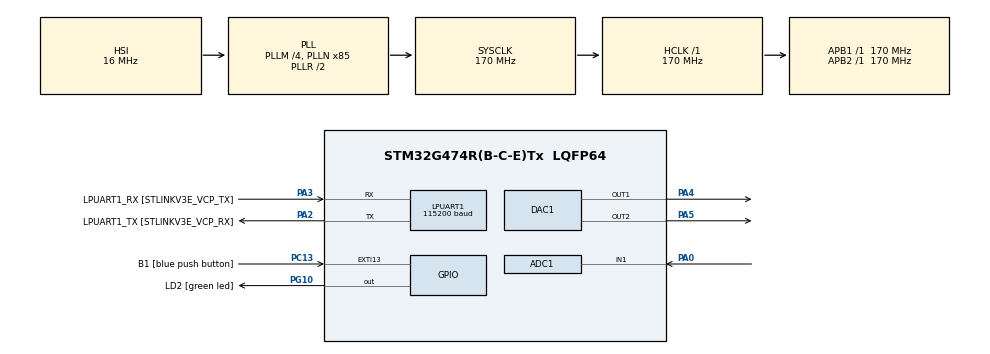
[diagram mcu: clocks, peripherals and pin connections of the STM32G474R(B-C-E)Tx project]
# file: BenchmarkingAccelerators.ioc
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ADC1.Channel-0\#ChannelRegularConversion=ADC_CHANNEL_1
ADC1.ExternalTrigConv=ADC_EXTERNALTRIG_T6_TRGO
ADC1.NbrOfConversion=1
ADC1.NbrOfConversionFlag=1
ADC1.OffsetNumber-0\#ChannelRegularConversion=ADC_OFFSET_NONE
ADC1.Rank-0\#ChannelRegularConversion=1
ADC1.SamplingTime-0\#ChannelRegularConversion=ADC_SAMPLETIME_2CYCLES_5
ADC1.master=1
DAC1.DAC_Channel-DAC_OUT2=DAC_CHANNEL_2
Dma.DAC1_CH1.0.Direction=DMA_MEMORY_TO_PERIPH
Dma.DAC1_CH1.0.EventEnable=DISABLE
Dma.DAC1_CH1.0.Instance=DMA1_Channel1
Dma.DAC1_CH1.0.MemDataAlignment=DMA_MDATAALIGN_HALFWORD
Dma.DAC1_CH1.0.MemInc=DMA_MINC_ENABLE
Dma.DAC1_CH1.0.Mode=DMA_CIRCULAR
Dma.DAC1_CH1.0.PeriphDataAlignment=DMA_PDATAALIGN_HALFWORD
Dma.DAC1_CH1.0.PeriphInc=DMA_PINC_DISABLE
Dma.DAC1_CH1.0.Polarity=HAL_DMAMUX_REQ_GEN_RISING
Dma.DAC1_CH1.0.Priority=DMA_PRIORITY_LOW
Dma.DAC1_CH1.0.RequestNumber=1
Dma.DAC1_CH1.0.SignalID=NONE
Dma.DAC1_CH1.0.SyncEnable=DISABLE
Dma.DAC1_CH1.0.SyncPolarity=HAL_DMAMUX_SYNC_NO_EVENT
Dma.DAC1_CH1.0.SyncRequestNumber=1
Dma.DAC1_CH1.0.SyncSignalID=NONE
Dma.FMAC_READ.1.Direction=DMA_PERIPH_TO_MEMORY
Dma.FMAC_READ.1.EventEnable=DISABLE
Dma.FMAC_READ.1.Instance=DMA1_Channel2
Dma.FMAC_READ.1.MemDataAlignment=DMA_MDATAALIGN_WORD
Dma.FMAC_READ.1.MemInc=DMA_MINC_ENABLE
Dma.FMAC_READ.1.Mode=DMA_NORMAL
Dma.FMAC_READ.1.PeriphDataAlignment=DMA_PDATAALIGN_WORD
Dma.FMAC_READ.1.PeriphInc=DMA_PINC_DISABLE
Dma.FMAC_READ.1.Polarity=HAL_DMAMUX_REQ_GEN_RISING
Dma.FMAC_READ.1.Priority=DMA_PRIORITY_LOW
Dma.FMAC_READ.1.RequestNumber=1
Dma.FMAC_READ.1.SignalID=NONE
Dma.FMAC_READ.1.SyncEnable=DISABLE
Dma.FMAC_READ.1.SyncPolarity=HAL_DMAMUX_SYNC_NO_EVENT
Dma.FMAC_READ.1.SyncRequestNumber=1
Dma.FMAC_READ.1.SyncSignalID=NONE
Dma.FMAC_WRITE.2.Direction=DMA_MEMORY_TO_PERIPH
Dma.FMAC_WRITE.2.EventEnable=DISABLE
Dma.FMAC_WRITE.2.Instance=DMA1_Channel3
Dma.FMAC_WRITE.2.MemDataAlignment=DMA_MDATAALIGN_HALFWORD
Dma.FMAC_WRITE.2.MemInc=DMA_MINC_ENABLE
Dma.FMAC_WRITE.2.Mode=DMA_CIRCULAR
Dma.FMAC_WRITE.2.PeriphDataAlignment=DMA_PDATAALIGN_WORD
Dma.FMAC_WRITE.2.PeriphInc=DMA_PINC_DISABLE
Dma.FMAC_WRITE.2.Polarity=HAL_DMAMUX_REQ_GEN_RISING
Dma.FMAC_WRITE.2.Priority=DMA_PRIORITY_LOW
Dma.FMAC_WRITE.2.RequestNumber=1
Dma.FMAC_WRITE.2.SignalID=NONE
Dma.FMAC_WRITE.2.SyncEnable=DISABLE
Dma.FMAC_WRITE.2.SyncPolarity=HAL_DMAMUX_SYNC_NO_EVENT
Dma.FMAC_WRITE.2.SyncRequestNumber=1
Dma.FMAC_WRITE.2.SyncSignalID=NONE
Dma.Request0=DAC1_CH1
Dma.Request1=FMAC_READ
Dma.Request2=FMAC_WRITE
LPUART1.BaudRate=115200
Mcu.Family=STM32G4
Mcu.Name=STM32G474R(B-C-E)Tx
Mcu.Package=LQFP64
NVIC.ADC1_2_IRQn=true\:0\:0\:false\:false\:true\:true\:true\:true
NVIC.DMA1_Channel1_IRQn=true\:0\:0\:false\:false\:true\:false\:true\:true
NVIC.DMA1_Channel2_IRQn=true\:0\:0\:false\:false\:true\:false\:true\:true
NVIC.DMA1_Channel3_IRQn=true\:0\:0\:false\:false\:true\:false\:true\:true
NVIC.EXTI15_10_IRQn=true\:0\:0\:false\:false\:true\:true\:true\:true
NVIC.FMAC_IRQn=true\:0\:0\:false\:false\:true\:true\:true\:true
NVIC.PriorityGroup=NVIC_PRIORITYGROUP_4
NVIC.TIM6_DAC_IRQn=true\:0\:0\:false\:false\:true\:true\:true\:true
PA0.Mode=IN1-Single-Ended
PA0.Signal=ADC1_IN1
PA13.GPIO_Label=T_SWDIO
PA13.Mode=Serial_Wire
PA13.Signal=SYS_JTMS-SWDIO
PA14.GPIO_Label=T_SWCLK
PA14.Mode=Serial_Wire
PA14.Signal=SYS_JTCK-SWCLK
PA2.GPIO_Label=LPUART1_TX [STLINKV3E_VCP_RX]
PA2.Mode=Asynchronous
PA2.Signal=LPUART1_TX
PA3.GPIO_Label=LPUART1_RX [STLINKV3E_VCP_TX]
PA3.Mode=Asynchronous
PA3.Signal=LPUART1_RX
PA4.Signal=COMP_DAC11_group
PA5.Signal=COMP_DAC12_group
PB3.GPIO_Label=T_SWO
PB3.Signal=SYS_JTDO-SWO
PC13.GPIO_Label=B1 [blue push button]
PC13.Signal=GPXTI13
PC14-OSC32_IN.Signal=RCC_OSC32_IN
PC15-OSC32_OUT.Signal=RCC_OSC32_OUT
PF0-OSC_IN.Signal=RCC_OSC_IN
PF1-OSC_OUT.Signal=RCC_OSC_OUT
PG10-NRST.GPIO_Label=LD2 [green led]
PG10-NRST.Signal=GPIO_Output
ProjectManager.HeapSize=0x200
ProjectManager.StackSize=0x400
ProjectManager.TargetToolchain=STM32CubeIDE
RCC.ADC12Freq_Value=170000000
RCC.ADC345Freq_Value=170000000
RCC.AHBFreq_Value=170000000
RCC.APB1Freq_Value=170000000
RCC.APB1TimFreq_Value=170000000
RCC.APB2Freq_Value=170000000
RCC.APB2TimFreq_Value=170000000
RCC.CortexFreq_Value=170000000
RCC.EXTERNAL_CLOCK_VALUE=12288000
RCC.HCLKFreq_Value=170000000
RCC.HSE_VALUE=24000000
RCC.HSI48_VALUE=48000000
RCC.HSI_VALUE=16000000
RCC.LSE_VALUE=32768
RCC.PLLM=RCC_PLLM_DIV4
RCC.PLLN=85
RCC.RTCClockSelection=RCC_RTCCLKSOURCE_LSE
RCC.SYSCLKFreq_VALUE=170000000
RCC.SYSCLKSource=RCC_SYSCLKSOURCE_PLLCLK
RCC.USBFreq_Value=170000000
RCC.VCOOutputFreq_Value=340000000
SH.COMP_DAC11_group.0=DAC1_OUT1,DAC_OUT1
SH.COMP_DAC12_group.0=DAC1_OUT2,DAC_OUT2
TIM6.PeriodNoDither=20
TIM6.Prescaler=169
TIM6.TIM_MasterOutputTrigger=TIM_TRGO_UPDATE
VP_FMAC_VS_FMAC.Mode=FMAC_Activate
VP_SYS_VS_DBSignals.Mode=DisableDeadBatterySignals
VP_TIM6_VS_ClockSourceINT.Mode=Enable_Timer
board=NUCLEO-G474RE

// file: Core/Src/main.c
/* USER CODE BEGIN Header */
/**
 ******************************************************************************
 * @file           : main.c
 * @brief          : Main program body
 ******************************************************************************
 * @attention
 *
 * Copyright (c) 2025 STMicroelectronics.
 * All rights reserved.
 *
 * This software is licensed under terms that can be found in the LICENSE file
 * in the root directory of this software component.
 * If no LICENSE file comes with this software, it is provided AS-IS.
 *
 ******************************************************************************
 */
/* USER CODE END Header */
#include "main.h"

/* USER CODE BEGIN Includes */
//#include "fmac_cmsis_interface.h"
/* USER CODE END Includes */

ADC_HandleTypeDef hadc1;

DAC_HandleTypeDef hdac1;
DMA_HandleTypeDef hdma_dac1_ch1;

FMAC_HandleTypeDef hfmac;
DMA_HandleTypeDef hdma_fmac_read;
DMA_HandleTypeDef hdma_fmac_write;

UART_HandleTypeDef hlpuart1;

TIM_HandleTypeDef htim6;

void SystemClock_Config(void);
static void MX_GPIO_Init(void);
static void MX_DMA_Init(void);
static void MX_FMAC_Init(void);
static void MX_DAC1_Init(void);
static void MX_TIM6_Init(void);
static void MX_LPUART1_UART_Init(void);
static void MX_ADC1_Init(void);

/* USER CODE BEGIN PFP */
q15_t inputSample[1];
q15_t filteredSample[1];
arm_fir_instance_q15 A;
arm_biquad_casd_df1_inst_q15 armIIRInstanceQ15;
q15_t biquad_state[4] = { 0 };

uint16_t blockLen = BLOCK_SIZE;
q15_t firStateQ15[FIR_STATE_LEN];

volatile uint32_t fmac_cycles = 0;
int16_t buf[500];
/* USER CODE END PFP */

int main(void) {

	/* MCU Configuration--------------------------------------------------------*/

	/* Reset of all peripherals, Initializes the Flash interface and the Systick. */
	HAL_Init();

	/* USER CODE BEGIN Init */
	//  For CMSIS-IIR
	//	int16_t biquadCffs_q15[6] = { ema_b_coeffs[0], 0, 0, 0, ema_a_coeffs[0], 0 };
	//	arm_biquad_cascade_df1_init_q15(&armIIRInstanceQ15, 1, biquadCffs_q15, biquad_state, 0);

	//  For CMSIS-FIR
	//  arm_fir_init_q15(&A, NUM_TAPS, fir_coeffs, firStateQ15,1);

	//  DWT Cycle Counter - Init
	//	CoreDebug->DEMCR |= CoreDebug_DEMCR_TRCENA_Msk;
	//	DWT->CYCCNT = 0;
	//	DWT->CTRL |= DWT_CTRL_CYCCNTENA_Msk;

	/* USER CODE END Init */

	/* Configure the system clock */
	SystemClock_Config();

	/* Initialize all configured peripherals */
	MX_GPIO_Init();
	MX_DMA_Init();
	MX_FMAC_Init();
	MX_DAC1_Init();
	MX_TIM6_Init();
	MX_LPUART1_UART_Init();
	MX_ADC1_Init();
	/* USER CODE BEGIN 2 */
	/* declare a filter configuration structure */

	FMAC_FilterConfigTypeDef sFmacConfig;

	//  FMAC-FIR Filters
	//	fmac_config(&sFmacConfig, 64, 80, 1, 0, 61, 144, 80, 1, NULL, 0,
	//	fir_coeffs, 61, FMAC_BUFFER_ACCESS_POLLING,
	//	FMAC_BUFFER_ACCESS_POLLING, FMAC_CLIP_ENABLED, FMAC_FUNC_CONVO_FIR,
	//	61, 0, 0);

	//  FMAC-IIR Filters
	//	fmac_config(&sFmacConfig, 51, 100, 1, 0, 21, 151, 100, 1, ema_a_coeffs,
	//	EMA_NUM_A_COEFFS, ema_b_coeffs, EMA_NUM_B_COEFFS,
	//	FMAC_BUFFER_ACCESS_POLLING,
	//	FMAC_BUFFER_ACCESS_POLLING, FMAC_CLIP_ENABLED,
	//	FMAC_FUNC_IIR_DIRECT_FORM_1,
	//	EMA_NUM_B_COEFFS, EMA_NUM_A_COEFFS, 0);

	/* Configure the FMAC */
	fmac_StartWithTimerIRQ(&hfmac, &sFmacConfig, &htim6, &hdac1);
//	fmac_StartWithTimerIRQ_DMA(&hfmac, &sFmacConfig, &htim6, &hdac1); //For DMA Config.
	HAL_DAC_Start(&hdac1, DAC_CHANNEL_1);
	HAL_ADC_Start_IT(&hadc1);
	/* USER CODE END 2 */

	/* Infinite loop */
	while (1) {

	}
}

void SystemClock_Config(void) {
	RCC_OscInitTypeDef RCC_OscInitStruct = { 0 };
	RCC_ClkInitTypeDef RCC_ClkInitStruct = { 0 };

	/** Configure the main internal regulator output voltage
	 */
	HAL_PWREx_ControlVoltageScaling(PWR_REGULATOR_VOLTAGE_SCALE1_BOOST);

	/** Initializes the RCC Oscillators according to the specified parameters
	 * in the RCC_OscInitTypeDef structure.
	 */
	RCC_OscInitStruct.OscillatorType = RCC_OSCILLATORTYPE_HSI;
	RCC_OscInitStruct.HSIState = RCC_HSI_ON;
	RCC_OscInitStruct.HSICalibrationValue = RCC_HSICALIBRATION_DEFAULT;
	RCC_OscInitStruct.PLL.PLLState = RCC_PLL_ON;
	RCC_OscInitStruct.PLL.PLLSource = RCC_PLLSOURCE_HSI;
	RCC_OscInitStruct.PLL.PLLM = RCC_PLLM_DIV4;
	RCC_OscInitStruct.PLL.PLLN = 85;
	RCC_OscInitStruct.PLL.PLLP = RCC_PLLP_DIV2;
	RCC_OscInitStruct.PLL.PLLQ = RCC_PLLQ_DIV2;
	RCC_OscInitStruct.PLL.PLLR = RCC_PLLR_DIV2;
	if (HAL_RCC_OscConfig(&RCC_OscInitStruct) != HAL_OK) {
		Error_Handler();
	}

	/** Initializes the CPU, AHB and APB buses clocks
	 */
	RCC_ClkInitStruct.ClockType = RCC_CLOCKTYPE_HCLK | RCC_CLOCKTYPE_SYSCLK
			| RCC_CLOCKTYPE_PCLK1 | RCC_CLOCKTYPE_PCLK2;
	RCC_ClkInitStruct.SYSCLKSource = RCC_SYSCLKSOURCE_PLLCLK;
	RCC_ClkInitStruct.AHBCLKDivider = RCC_SYSCLK_DIV1;
	RCC_ClkInitStruct.APB1CLKDivider = RCC_HCLK_DIV1;
	RCC_ClkInitStruct.APB2CLKDivider = RCC_HCLK_DIV1;

	if (HAL_RCC_ClockConfig(&RCC_ClkInitStruct, FLASH_LATENCY_4) != HAL_OK) {
		Error_Handler();
	}
}

static void MX_ADC1_Init(void) {

	ADC_MultiModeTypeDef multimode = { 0 };
	ADC_ChannelConfTypeDef sConfig = { 0 };

	/** Common config
	 */
	hadc1.Instance = ADC1;
	hadc1.Init.ClockPrescaler = ADC_CLOCK_SYNC_PCLK_DIV4;
	hadc1.Init.Resolution = ADC_RESOLUTION_12B;
	hadc1.Init.DataAlign = ADC_DATAALIGN_RIGHT;
	hadc1.Init.GainCompensation = 0;
	hadc1.Init.ScanConvMode = ADC_SCAN_DISABLE;
	hadc1.Init.EOCSelection = ADC_EOC_SINGLE_CONV;
	hadc1.Init.LowPowerAutoWait = DISABLE;
	hadc1.Init.ContinuousConvMode = DISABLE;
	hadc1.Init.NbrOfConversion = 1;
	hadc1.Init.DiscontinuousConvMode = DISABLE;
	hadc1.Init.ExternalTrigConv = ADC_EXTERNALTRIG_T6_TRGO;
	hadc1.Init.ExternalTrigConvEdge = ADC_EXTERNALTRIGCONVEDGE_RISING;
	hadc1.Init.DMAContinuousRequests = DISABLE;
	hadc1.Init.Overrun = ADC_OVR_DATA_PRESERVED;
	hadc1.Init.OversamplingMode = DISABLE;
	if (HAL_ADC_Init(&hadc1) != HAL_OK) {
		Error_Handler();
	}

	/** Configure the ADC multi-mode
	 */
	multimode.Mode = ADC_MODE_INDEPENDENT;
	if (HAL_ADCEx_MultiModeConfigChannel(&hadc1, &multimode) != HAL_OK) {
		Error_Handler();
	}

	/** Configure Regular Channel
	 */
	sConfig.Channel = ADC_CHANNEL_1;
	sConfig.Rank = ADC_REGULAR_RANK_1;
	sConfig.SamplingTime = ADC_SAMPLETIME_2CYCLES_5;
	sConfig.SingleDiff = ADC_SINGLE_ENDED;
	sConfig.OffsetNumber = ADC_OFFSET_NONE;
	sConfig.Offset = 0;
	if (HAL_ADC_ConfigChannel(&hadc1, &sConfig) != HAL_OK) {
		Error_Handler();
	}

}

static void MX_DAC1_Init(void) {

	DAC_ChannelConfTypeDef sConfig = { 0 };

	/** DAC Initialization
	 */
	hdac1.Instance = DAC1;
	if (HAL_DAC_Init(&hdac1) != HAL_OK) {
		Error_Handler();
	}

	/** DAC channel OUT1 config
	 */
	sConfig.DAC_HighFrequency = DAC_HIGH_FREQUENCY_INTERFACE_MODE_AUTOMATIC;
	sConfig.DAC_DMADoubleDataMode = DISABLE;
	sConfig.DAC_SignedFormat = DISABLE;
	sConfig.DAC_SampleAndHold = DAC_SAMPLEANDHOLD_DISABLE;
	sConfig.DAC_Trigger = DAC_TRIGGER_NONE;
	sConfig.DAC_Trigger2 = DAC_TRIGGER_NONE;
	sConfig.DAC_OutputBuffer = DAC_OUTPUTBUFFER_ENABLE;
	sConfig.DAC_ConnectOnChipPeripheral = DAC_CHIPCONNECT_EXTERNAL;
	sConfig.DAC_UserTrimming = DAC_TRIMMING_FACTORY;
	if (HAL_DAC_ConfigChannel(&hdac1, &sConfig, DAC_CHANNEL_1) != HAL_OK) {
		Error_Handler();
	}

	/** DAC channel OUT2 config
	 */
	if (HAL_DAC_ConfigChannel(&hdac1, &sConfig, DAC_CHANNEL_2) != HAL_OK) {
		Error_Handler();
	}

}

static void MX_FMAC_Init(void) {

	hfmac.Instance = FMAC;
	if (HAL_FMAC_Init(&hfmac) != HAL_OK) {
		Error_Handler();
	}

}

static void MX_LPUART1_UART_Init(void) {

	hlpuart1.Instance = LPUART1;
	hlpuart1.Init.BaudRate = 115200;
	hlpuart1.Init.WordLength = UART_WORDLENGTH_8B;
	hlpuart1.Init.StopBits = UART_STOPBITS_1;
	hlpuart1.Init.Parity = UART_PARITY_NONE;
	hlpuart1.Init.Mode = UART_MODE_TX_RX;
	hlpuart1.Init.HwFlowCtl = UART_HWCONTROL_NONE;
	hlpuart1.Init.OneBitSampling = UART_ONE_BIT_SAMPLE_DISABLE;
	hlpuart1.Init.ClockPrescaler = UART_PRESCALER_DIV1;
	hlpuart1.AdvancedInit.AdvFeatureInit = UART_ADVFEATURE_NO_INIT;
	if (HAL_UART_Init(&hlpuart1) != HAL_OK) {
		Error_Handler();
	}
	if (HAL_UARTEx_SetTxFifoThreshold(&hlpuart1, UART_TXFIFO_THRESHOLD_1_8)
			!= HAL_OK) {
		Error_Handler();
	}
	if (HAL_UARTEx_SetRxFifoThreshold(&hlpuart1, UART_RXFIFO_THRESHOLD_1_8)
			!= HAL_OK) {
		Error_Handler();
	}
	if (HAL_UARTEx_DisableFifoMode(&hlpuart1) != HAL_OK) {
		Error_Handler();
	}

}

static void MX_TIM6_Init(void) {

	TIM_MasterConfigTypeDef sMasterConfig = { 0 };

	htim6.Instance = TIM6;
	htim6.Init.Prescaler = 169;
	htim6.Init.CounterMode = TIM_COUNTERMODE_UP;
	htim6.Init.Period = 20;
	htim6.Init.AutoReloadPreload = TIM_AUTORELOAD_PRELOAD_DISABLE;
	if (HAL_TIM_Base_Init(&htim6) != HAL_OK) {
		Error_Handler();
	}
	sMasterConfig.MasterOutputTrigger = TIM_TRGO_UPDATE;
	sMasterConfig.MasterSlaveMode = TIM_MASTERSLAVEMODE_DISABLE;
	if (HAL_TIMEx_MasterConfigSynchronization(&htim6, &sMasterConfig)
			!= HAL_OK) {
		Error_Handler();
	}
	/* USER CODE BEGIN TIM6_Init 2 */

	//Configuring TIM6 to trigger TRGO events
	htim6.Instance->CR2 &= ~TIM_CR2_MMS;
	htim6.Instance->CR2 |= TIM_TRGO_UPDATE;
	/* USER CODE END TIM6_Init 2 */

}

static void MX_DMA_Init(void) {

	/* DMA controller clock enable */
	__HAL_RCC_DMAMUX1_CLK_ENABLE();
	__HAL_RCC_DMA1_CLK_ENABLE();

	/* DMA interrupt init */
	/* DMA1_Channel1_IRQn interrupt configuration */
	HAL_NVIC_SetPriority(DMA1_Channel1_IRQn, 0, 0);
	HAL_NVIC_EnableIRQ(DMA1_Channel1_IRQn);
	/* DMA1_Channel2_IRQn interrupt configuration */
	HAL_NVIC_SetPriority(DMA1_Channel2_IRQn, 0, 0);
	HAL_NVIC_EnableIRQ(DMA1_Channel2_IRQn);
	/* DMA1_Channel3_IRQn interrupt configuration */
	HAL_NVIC_SetPriority(DMA1_Channel3_IRQn, 0, 0);
	HAL_NVIC_EnableIRQ(DMA1_Channel3_IRQn);

	DMAMUX1_RequestGenerator0->RGCR = (DMAMUX_SIG_ID_TIM6_UP
			<< DMAMUX_RGxCR_SIG_ID_Pos) |
	DMAMUX_RGxCR_GPOL_RISING |
	DMAMUX_RGxCR_GE;

}

static void MX_GPIO_Init(void) {
	GPIO_InitTypeDef GPIO_InitStruct = { 0 };

	/* GPIO Ports Clock Enable */
	__HAL_RCC_GPIOC_CLK_ENABLE();
	__HAL_RCC_GPIOF_CLK_ENABLE();
	__HAL_RCC_GPIOG_CLK_ENABLE();
	__HAL_RCC_GPIOA_CLK_ENABLE();
	__HAL_RCC_GPIOB_CLK_ENABLE();

	/*Configure GPIO pin Output Level */
	HAL_GPIO_WritePin(LD2_GPIO_Port, LD2_Pin, GPIO_PIN_RESET);

	/*Configure GPIO pin : B1_Pin */
	GPIO_InitStruct.Pin = B1_Pin;
	GPIO_InitStruct.Mode = GPIO_MODE_IT_RISING;
	GPIO_InitStruct.Pull = GPIO_NOPULL;
	HAL_GPIO_Init(B1_GPIO_Port, &GPIO_InitStruct);

	/*Configure GPIO pin : LD2_Pin */
	GPIO_InitStruct.Pin = LD2_Pin;
	GPIO_InitStruct.Mode = GPIO_MODE_OUTPUT_PP;
	GPIO_InitStruct.Pull = GPIO_NOPULL;
	GPIO_InitStruct.Speed = GPIO_SPEED_FREQ_LOW;
	HAL_GPIO_Init(LD2_GPIO_Port, &GPIO_InitStruct);

	/* EXTI interrupt init*/
	HAL_NVIC_SetPriority(EXTI15_10_IRQn, 0, 0);
	HAL_NVIC_EnableIRQ(EXTI15_10_IRQn);

}

void Error_Handler(void) {
	__disable_irq();
	while (1) {
	}
}
